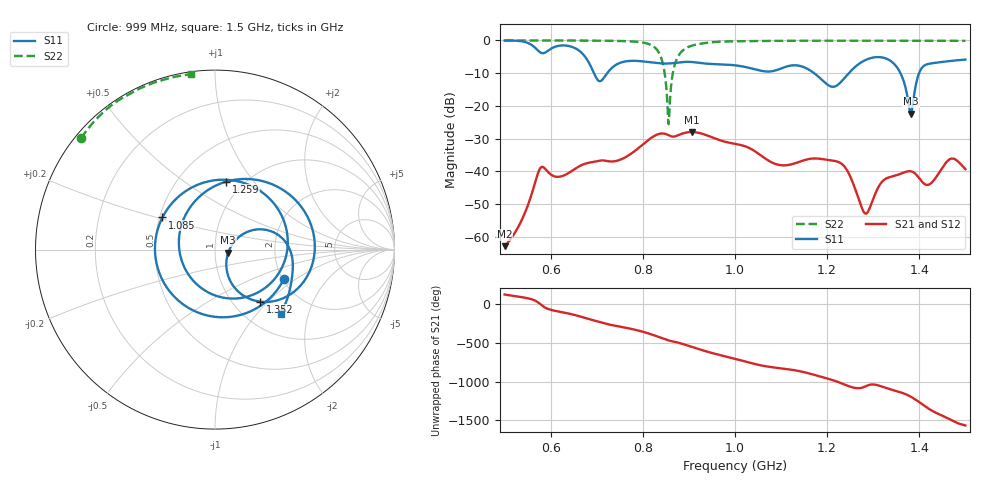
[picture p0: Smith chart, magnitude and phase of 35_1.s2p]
! TOUCHSTONE file generated by CST MICROWAVE STUDIO
! Date and time: Sat Nov 14 20:43:02 2020
! Project name: Scenario_1_Planar_Body_Tissue_Out_of_Line_v2.cst
! Parameters = {dy1=-242.2; L_HA=400; Ltissue=700; MT=2.54; Rad_Dielectric=30; Rad_Lower=7.3; Rad_Upper=30; Wtissue=700; a_HA=580; a_WG=246; b_HA=500; b_WG=121; c_HA=0; c_WG=187; d_feed=85; dx1=173; h_feed=15; h_lower=18; h_upper=40; hfat=3; hgap=25; hmuscle=50; hskin=1.5}
! Header version: 2018
! Port assignment regex: !\s*Touchstone port\s*([0-9]+)\s*=\s*(CST MWS port|CST DS port)\s*([0-9]+|Zmin|Zmax)\s*\(\"(.*)\"\)(\s*mode\s*([0-9]+))?.*
! Touchstone port assignment:
! Touchstone port 1 = CST MWS port 1 ("")
! Touchstone port 2 = CST MWS port 2 ("")
# GHz S DB R 50
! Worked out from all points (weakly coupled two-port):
!   1003 points, 500 MHz to 1.5 GHz, reference 50 ohm
!   highest |S21| = -28.00 dB at 906 MHz (marker M1); lowest = -62.9 dB at 500 MHz (marker M2)
!   lowest |S11| = -22.4 dB at 1.382 GHz (marker M3), VSWR 1.16, Z = 57.9 - j1.94 ohm
!   |S11| at or under -10 dB: 693.9 MHz to 722.7 MHz (28.78 MHz wide, 4.06 % of centre); 1.172 GHz to 1.247 GHz (75.28 MHz wide, 6.22 % of centre); 1.359 GHz to 1.399 GHz (40.4 MHz wide, 2.93 % of centre)
!   |S22| runs from -25.6 to 0.0 dB; largest |S21 - S12| = 5.5e-06
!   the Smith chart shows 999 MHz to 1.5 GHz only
!   S11 on the Smith chart (normalised r, x): 999 MHz: 2.03, -0.81; 1.085 GHz: 0.52, +0.21; 1.259 GHz: 0.83, +0.74; 1.352 GHz: 1.32, -0.90; 1.5 GHz: 1.40, -1.35
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0.5  -0.06 -121.8  -62.89 125.5  -62.89 125.5  -0.01 151.1
0.579  -3.77 -163.2  -38.78 -5.4  -38.78 -5.4  -0.02 145.7
0.631  -1.55 168.4  -41.13 -110.0  -41.13 -110.0  -0.03 141.6
0.667  -3.76 111.2  -38.11 -163.2  -38.11 -163.2  -0.04 138.4
0.694  -10.02 30.7  -37.09 150.7  -37.09 150.7  -0.06 135.5
0.721  -10.33 -103.8  -36.83 106.0  -36.83 106.0  -0.10 132.1
0.765  -6.35 158.7  -35.48 54.1  -35.48 54.1  -0.23 124.3
0.834  -6.97 24.3  -28.63 -61.7  -28.63 -61.7  -3.52 80.7
0.856  -7.04 -32.8  -28.99 -107.7  -28.99 -107.7  -25.60 -58.0
0.906  -6.59 179.8  -28.00 170.3  -28.00 170.3  -1.61 163.3
0.943  -7.15 86.4  -29.24 101.9  -29.24 101.9  -0.65 150.8
0.999  -7.59 -23.2  -31.59 17.2  -31.59 17.2  -0.26 140.2
1  -7.61 -25.0  -31.62 15.7  -31.62 15.7  -0.26 140.1
1.085  -9.28 148.5  -37.61 -96.8  -37.61 -96.8  -0.14 131.1
1.167  -9.52 -46.9  -36.12 176.4  -36.12 176.4  -0.08 124.2
1.259  -8.31 80.5  -44.70 1.1  -44.70 1.1  -0.09 117.2
1.285  -5.88 39.6  -52.90 24.7  -52.90 24.7  -0.08 115.2
1.334  -5.94 -26.5  -41.87 -12.5  -41.87 -12.5  -0.08 111.5
1.352  -8.31 -49.0  -41.14 -43.8  -41.14 -43.8  -0.09 110.1
1.382  -22.43 -12.7  -40.01 -115.9  -40.01 -115.9  -0.10 107.8
1.409  -7.88 4.1  -43.63 137.5  -43.63 137.5  -0.10 105.7
1.5  -5.84 -44.3  -39.34 -125.6  -39.34 -125.6  -0.13 97.9
